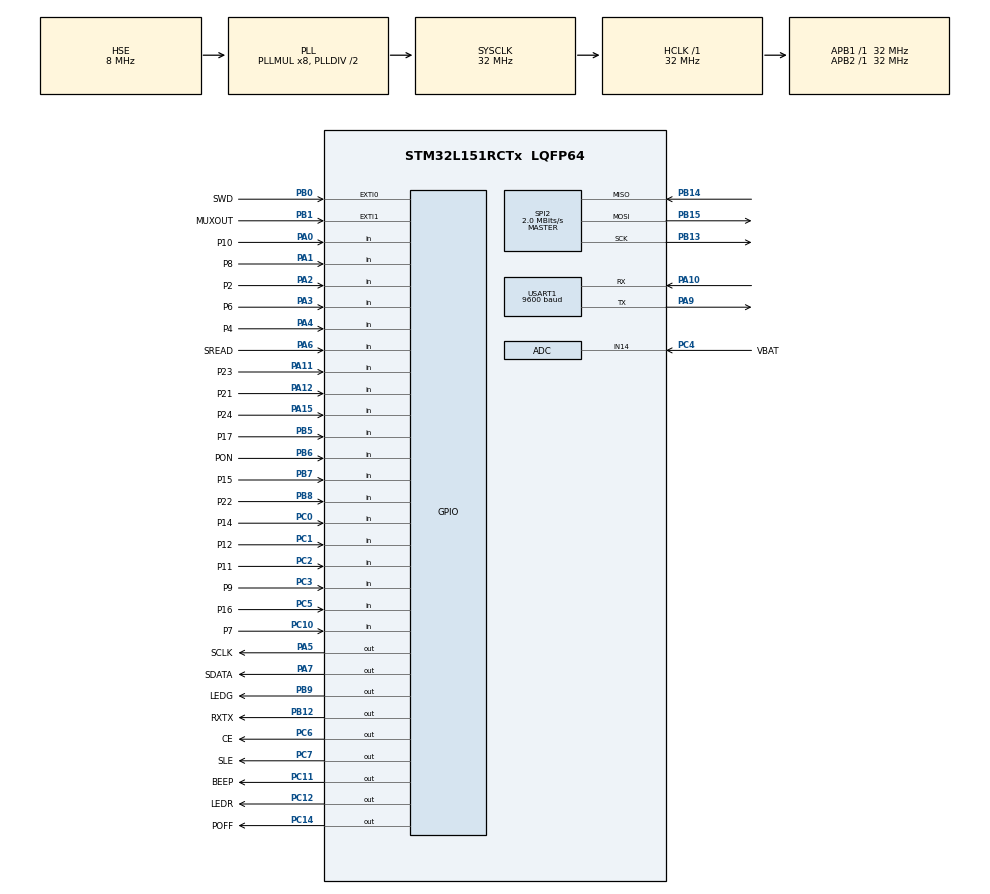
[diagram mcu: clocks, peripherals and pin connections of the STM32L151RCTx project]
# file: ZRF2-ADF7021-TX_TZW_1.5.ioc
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ADC.Channel-0\#ChannelRegularConversion=ADC_CHANNEL_14
ADC.ContinuousConvMode=DISABLE
ADC.DMAContinuousRequests=ENABLE
ADC.DataAlign=ADC_DATAALIGN_RIGHT
ADC.DiscontinuousConvMode=DISABLE
ADC.EnableAnalogWatchDog=false
ADC.ExternalTrigConv=ADC_SOFTWARE_START
ADC.InjNumberOfConversion=0
ADC.NbrOfConversion=1
ADC.Rank-0\#ChannelRegularConversion=1
ADC.SamplingTime-0\#ChannelRegularConversion=ADC_SAMPLETIME_192CYCLES
ADC.ScanConvMode=ADC_SCAN_DISABLE
Dma.ADC.0.Direction=DMA_PERIPH_TO_MEMORY
Dma.ADC.0.Instance=DMA1_Channel1
Dma.ADC.0.MemDataAlignment=DMA_MDATAALIGN_HALFWORD
Dma.ADC.0.MemInc=DMA_MINC_ENABLE
Dma.ADC.0.Mode=DMA_NORMAL
Dma.ADC.0.PeriphDataAlignment=DMA_PDATAALIGN_HALFWORD
Dma.ADC.0.PeriphInc=DMA_PINC_DISABLE
Dma.ADC.0.Priority=DMA_PRIORITY_LOW
Dma.Request0=ADC
FREERTOS.Tasks01=defaultTask,0,256,StartDefaultTask,Default,NULL,Dynamic,NULL,NULL
FREERTOS.configMAX_PRIORITIES=9
FREERTOS.configMINIMAL_STACK_SIZE=128
FREERTOS.configTOTAL_HEAP_SIZE=16000
FREERTOS.configUSE_NEWLIB_REENTRANT=1
FREERTOS.configUSE_TIMERS=1
Mcu.Family=STM32L1
Mcu.Name=STM32L151RCTx
Mcu.Package=LQFP64
NVIC.ADC1_IRQn=true\:5\:0\:false\:false\:true\:true\:true\:true\:true
NVIC.DMA1_Channel1_IRQn=true\:5\:0\:false\:false\:true\:true\:true\:true\:true
NVIC.EXTI0_IRQn=true\:5\:0\:false\:false\:true\:true\:true\:true\:true
NVIC.EXTI1_IRQn=true\:5\:0\:true\:false\:true\:true\:true\:true\:true
NVIC.PriorityGroup=NVIC_PRIORITYGROUP_4
NVIC.TIM11_IRQn=true\:5\:0\:false\:false\:true\:true\:true\:true\:true
NVIC.TIM2_IRQn=true\:0\:0\:false\:false\:true\:false\:false\:true\:true
NVIC.TimeBase=TIM2_IRQn
NVIC.TimeBaseIP=TIM2
NVIC.USART1_IRQn=true\:5\:0\:true\:false\:true\:true\:true\:true\:true
PA0-WKUP1.GPIO_Label=P10
PA0-WKUP1.GPIO_PuPd=GPIO_PULLUP
PA0-WKUP1.Signal=GPIO_Input
PA1.GPIO_Label=P8
PA1.GPIO_PuPd=GPIO_PULLUP
PA1.Signal=GPIO_Input
PA10.Mode=Asynchronous
PA10.Signal=USART1_RX
PA11.GPIO_Label=P23
PA11.GPIO_PuPd=GPIO_PULLUP
PA11.Signal=GPIO_Input
PA12.GPIO_Label=P21
PA12.GPIO_PuPd=GPIO_PULLUP
PA12.Signal=GPIO_Input
PA13.Mode=Serial_Wire
PA13.Signal=SYS_JTMS-SWDIO
PA14.Mode=Serial_Wire
PA14.Signal=SYS_JTCK-SWCLK
PA15.GPIO_Label=P24
PA15.GPIO_PuPd=GPIO_PULLUP
PA15.Signal=GPIO_Input
PA2.GPIO_Label=P2
PA2.GPIO_PuPd=GPIO_PULLUP
PA2.Signal=GPIO_Input
PA3.GPIO_Label=P6
PA3.GPIO_PuPd=GPIO_PULLUP
PA3.Signal=GPIO_Input
PA4.GPIO_Label=P4
PA4.Signal=GPIO_Input
PA5.GPIO_Label=SCLK
PA5.GPIO_Speed=GPIO_SPEED_FREQ_VERY_HIGH
PA5.Signal=GPIO_Output
PA6.GPIO_Label=SREAD
PA6.GPIO_PuPd=GPIO_PULLUP
PA6.Signal=GPIO_Input
PA7.GPIO_Label=SDATA
PA7.GPIO_Speed=GPIO_SPEED_FREQ_VERY_HIGH
PA7.Signal=GPIO_Output
PA9.Mode=Asynchronous
PA9.Signal=USART1_TX
PB0.GPIO_Label=SWD
PB0.GPIO_ModeDefaultEXTI=GPIO_MODE_IT_FALLING
PB0.GPIO_PuPd=GPIO_PULLUP
PB0.Signal=GPXTI0
PB1.GPIO_Label=MUXOUT
PB1.Signal=GPXTI1
PB12.GPIO_Label=RXTX
PB12.GPIO_PuPd=GPIO_NOPULL
PB12.GPIO_Speed=GPIO_SPEED_FREQ_VERY_HIGH
PB12.PinState=GPIO_PIN_SET
PB12.Signal=GPIO_Output
PB13.Mode=Full_Duplex_Master
PB13.Signal=SPI2_SCK
PB14.Mode=Full_Duplex_Master
PB14.Signal=SPI2_MISO
PB15.Mode=Full_Duplex_Master
PB15.Signal=SPI2_MOSI
PB5.GPIO_Label=P17
PB5.GPIO_PuPd=GPIO_PULLUP
PB5.Signal=GPIO_Input
PB6.GPIO_Label=PON
PB6.Signal=GPIO_Input
PB7.GPIO_Label=P15
PB7.GPIO_PuPd=GPIO_PULLUP
PB7.Signal=GPIO_Input
PB8.GPIO_Label=P22
PB8.Signal=GPIO_Input
PB9.GPIO_Label=LEDG
PB9.Signal=GPIO_Output
PC0.GPIO_Label=P14
PC0.GPIO_PuPd=GPIO_PULLUP
PC0.Signal=GPIO_Input
PC1.GPIO_Label=P12
PC1.GPIO_PuPd=GPIO_PULLUP
PC1.Signal=GPIO_Input
PC10.GPIO_Label=P7
PC10.GPIO_PuPd=GPIO_PULLUP
PC10.Signal=GPIO_Input
PC11.GPIO_Label=BEEP
PC11.Signal=GPIO_Output
PC12.GPIO_Label=LEDR
PC12.Signal=GPIO_Output
PC14-OSC32_IN.GPIO_Label=POFF
PC14-OSC32_IN.PinState=GPIO_PIN_SET
PC14-OSC32_IN.Signal=GPIO_Output
PC2.GPIO_Label=P11
PC2.GPIO_PuPd=GPIO_PULLUP
PC2.Signal=GPIO_Input
PC3.GPIO_Label=P9
PC3.GPIO_PuPd=GPIO_PULLUP
PC3.Signal=GPIO_Input
PC4.GPIO_Label=VBAT
PC4.Mode=IN14
PC4.Signal=ADC_IN14
PC5.GPIO_Label=P16
PC5.GPIO_PuPd=GPIO_PULLUP
PC5.Signal=GPIO_Input
PC6.GPIO_Label=CE
PC6.GPIO_Speed=GPIO_SPEED_FREQ_VERY_HIGH
PC6.Signal=GPIO_Output
PC7.GPIO_Label=SLE
PC7.GPIO_Speed=GPIO_SPEED_FREQ_VERY_HIGH
PC7.Signal=GPIO_Output
PH0-OSC_IN.Mode=HSE-External-Oscillator
PH0-OSC_IN.Signal=RCC_OSC_IN
PH1-OSC_OUT.Mode=HSE-External-Oscillator
PH1-OSC_OUT.Signal=RCC_OSC_OUT
ProjectManager.HeapSize=0x200
ProjectManager.StackSize=0x400
ProjectManager.TargetToolchain=STM32CubeIDE
RCC.48MHZClocksFreq_Value=32000000
RCC.AHBFreq_Value=32000000
RCC.APB1Freq_Value=32000000
RCC.APB1TimFreq_Value=32000000
RCC.APB2Freq_Value=32000000
RCC.APB2TimFreq_Value=32000000
RCC.EnbaleCSS=true
RCC.FLatency=FLASH_LATENCY_1
RCC.HCLKFreq_Value=32000000
RCC.HSE_VALUE=8000000
RCC.HSI_VALUE=16000000
RCC.LSE_VALUE=32768
RCC.MSI_VALUE=2097000
RCC.PLLMUL=RCC_PLL_MUL8
RCC.PLLSourceVirtual=RCC_PLLSOURCE_HSE
RCC.PREFETCH_ENABLE=1
RCC.SYSCLKFreq_VALUE=32000000
RCC.SYSCLKSource=RCC_SYSCLKSOURCE_PLLCLK
RCC.VCOOutputFreq_Value=64000000
RCC.VDD_VALUE=3.3
SPI2.BaudRatePrescaler=SPI_BAUDRATEPRESCALER_16
SPI2.CLKPhase=SPI_PHASE_1EDGE
SPI2.CLKPolarity=SPI_POLARITY_LOW
SPI2.CRCCalculation=SPI_CRCCALCULATION_DISABLE
SPI2.CalculateBaudRate=2.0 MBits/s
SPI2.DataSize=SPI_DATASIZE_8BIT
SPI2.Direction=SPI_DIRECTION_2LINES
SPI2.FirstBit=SPI_FIRSTBIT_MSB
SPI2.Mode=SPI_MODE_MASTER
SPI2.NSS=SPI_NSS_SOFT
SPI2.TIMode=SPI_TIMODE_DISABLE
SPI2.VirtualType=VM_MASTER
TIM11.Period=10-1
TIM11.Prescaler=32000-1
USART1.BaudRate=9600
USART1.Mode=MODE_TX_RX
USART1.OverSampling=UART_OVERSAMPLING_16
USART1.Parity=PARITY_NONE
USART1.StopBits=STOPBITS_1
USART1.VirtualMode=VM_ASYNC
USART1.WordLength=WORDLENGTH_8B
VP_FREERTOS_VS_CMSIS_V1.Mode=CMSIS_V1
VP_SYS_VS_tim2.Mode=TIM2
VP_TIM11_VS_ClockSourceINT.Mode=Internal
board=CC1120-TX_V1.21

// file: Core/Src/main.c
/* USER CODE BEGIN Header */
/**
  ******************************************************************************
  * @file           : main.c
  * @brief          : Main program body
  ******************************************************************************
  * @attention
  *
  * Copyright (c) 2022 STMicroelectronics.
  * All rights reserved.
  *
  * This software is licensed under terms that can be found in the LICENSE file
  * in the root directory of this software component.
  * If no LICENSE file comes with this software, it is provided AS-IS.
  *
  ******************************************************************************
  */
/* USER CODE END Header */
#include "main.h"
#include "cmsis_os.h"

/* USER CODE BEGIN Includes */
#include "../../config.h"
#include "../threads/variables.h"
#include "../threads/cmd_thread.h"
#include "../threads/ctrl_thread.h"
#include "../threads/io_ctrl_thread.h"
#include "../threads/radio_thread.h"
#include "../ADF7021/adf7021.h"
#include "../Lib/eeprom.h"
/* USER CODE END Includes */

/* USER CODE BEGIN PTD */
osThreadId ctrl_threadHandle;
osThreadId cmd_threadHandle;
osThreadId io_ctrl_threadHandle;
osThreadId radio_threadHandle;
osThreadId serial_threadHandle;
/* USER CODE END PTD */

/* USER CODE BEGIN PD */
void set_inouts(void);
/* USER CODE END PD */

 ADC_HandleTypeDef hadc;
DMA_HandleTypeDef hdma_adc;

SPI_HandleTypeDef hspi2;

TIM_HandleTypeDef htim11;

UART_HandleTypeDef huart1;

osThreadId defaultTaskHandle;

void SystemClock_Config(void);
static void MX_GPIO_Init(void);
static void MX_DMA_Init(void);
static void MX_SPI2_Init(void);
static void MX_USART1_UART_Init(void);
static void MX_ADC_Init(void);
static void MX_TIM11_Init(void);
void StartDefaultTask(void const * argument);

int main(void)
{

  /* MCU Configuration--------------------------------------------------------*/

  /* Reset of all peripherals, Initializes the Flash interface and the Systick. */
  HAL_Init();

  /* USER CODE BEGIN Init */

	serial_tx_queue = xQueueCreate(serial_tx_queue_size, sizeof(uint8_t));
	serial_rx_queue = xQueueCreate(serial_rx_queue_size, sizeof(uint8_t));

	  setup_mutex = xSemaphoreCreateMutex();
	  tx_frame_mutex = xSemaphoreCreateMutex();
	  off_counter_reset_mutex = xSemaphoreCreateMutex();

  /* USER CODE END Init */

  /* Configure the system clock */
  SystemClock_Config();

  /* Initialize all configured peripherals */
  MX_GPIO_Init();
  MX_DMA_Init();
  MX_SPI2_Init();
  MX_USART1_UART_Init();
  MX_ADC_Init();
  MX_TIM11_Init();
  /* USER CODE BEGIN 2 */
  set_inouts();
  /* USER CODE END 2 */

  /* Create the thread(s) */
  /* definition and creation of defaultTask */
  osThreadDef(defaultTask, StartDefaultTask, osPriorityNormal, 0, 256);
  defaultTaskHandle = osThreadCreate(osThread(defaultTask), NULL);

  /* USER CODE BEGIN RTOS_THREADS */
  osThreadDef(radio_thread, radio_task, osPriorityNormal, 0, 256);
  radio_threadHandle = osThreadCreate(osThread(radio_thread), NULL);

  osThreadDef(ctrl_thread, ctrl_task, osPriorityNormal, 0, 256);
  ctrl_threadHandle = osThreadCreate(osThread(ctrl_thread), NULL);

  /* definition and creation of cmd_thread */
  osThreadDef(cmd_thread, cmd_task, osPriorityNormal, 0, 256);
  cmd_threadHandle = osThreadCreate(osThread(cmd_thread), NULL);

  /* definition and creation of io_ctrl_thread */
  osThreadDef(io_ctrl_thread, io_ctrl_task, osPriorityNormal, 0, 256);
  io_ctrl_threadHandle = osThreadCreate(osThread(io_ctrl_thread), NULL);

  /* USER CODE END RTOS_THREADS */

  /* Start scheduler */
  osKernelStart();

  /* We should never get here as control is now taken by the scheduler */
  /* Infinite loop */
  while (1)
  {

  }
}

void SystemClock_Config(void)
{
  RCC_OscInitTypeDef RCC_OscInitStruct = {0};
  RCC_ClkInitTypeDef RCC_ClkInitStruct = {0};

  /** Configure the main internal regulator output voltage
  */
  __HAL_PWR_VOLTAGESCALING_CONFIG(PWR_REGULATOR_VOLTAGE_SCALE1);

  /** Initializes the RCC Oscillators according to the specified parameters
  * in the RCC_OscInitTypeDef structure.
  */
  RCC_OscInitStruct.OscillatorType = RCC_OSCILLATORTYPE_HSI|RCC_OSCILLATORTYPE_HSE;
  RCC_OscInitStruct.HSEState = RCC_HSE_ON;
  RCC_OscInitStruct.HSIState = RCC_HSI_ON;
  RCC_OscInitStruct.HSICalibrationValue = RCC_HSICALIBRATION_DEFAULT;
  RCC_OscInitStruct.PLL.PLLState = RCC_PLL_ON;
  RCC_OscInitStruct.PLL.PLLSource = RCC_PLLSOURCE_HSE;
  RCC_OscInitStruct.PLL.PLLMUL = RCC_PLL_MUL8;
  RCC_OscInitStruct.PLL.PLLDIV = RCC_PLL_DIV2;
  if (HAL_RCC_OscConfig(&RCC_OscInitStruct) != HAL_OK)
  {
    Error_Handler();
  }

  /** Initializes the CPU, AHB and APB buses clocks
  */
  RCC_ClkInitStruct.ClockType = RCC_CLOCKTYPE_HCLK|RCC_CLOCKTYPE_SYSCLK
                              |RCC_CLOCKTYPE_PCLK1|RCC_CLOCKTYPE_PCLK2;
  RCC_ClkInitStruct.SYSCLKSource = RCC_SYSCLKSOURCE_PLLCLK;
  RCC_ClkInitStruct.AHBCLKDivider = RCC_SYSCLK_DIV1;
  RCC_ClkInitStruct.APB1CLKDivider = RCC_HCLK_DIV1;
  RCC_ClkInitStruct.APB2CLKDivider = RCC_HCLK_DIV1;

  if (HAL_RCC_ClockConfig(&RCC_ClkInitStruct, FLASH_LATENCY_1) != HAL_OK)
  {
    Error_Handler();
  }

  /** Enables the Clock Security System
  */
  HAL_RCC_EnableCSS();
}

static void MX_ADC_Init(void)
{

  /* USER CODE BEGIN ADC_Init 0 */
	volatile uint8_t rank_count = 2;
  /* USER CODE END ADC_Init 0 */

  ADC_ChannelConfTypeDef sConfig = {0};

  /** Configure the global features of the ADC (Clock, Resolution, Data Alignment and number of conversion)
  */
  hadc.Instance = ADC1;
  hadc.Init.ClockPrescaler = ADC_CLOCK_ASYNC_DIV1;
  hadc.Init.Resolution = ADC_RESOLUTION_12B;
  hadc.Init.DataAlign = ADC_DATAALIGN_RIGHT;
  hadc.Init.ScanConvMode = ADC_SCAN_DISABLE;
  hadc.Init.EOCSelection = ADC_EOC_SEQ_CONV;
  hadc.Init.LowPowerAutoWait = ADC_AUTOWAIT_DISABLE;
  hadc.Init.LowPowerAutoPowerOff = ADC_AUTOPOWEROFF_DISABLE;
  hadc.Init.ChannelsBank = ADC_CHANNELS_BANK_A;
  hadc.Init.ContinuousConvMode = DISABLE;
  hadc.Init.NbrOfConversion = 1;
  hadc.Init.DiscontinuousConvMode = DISABLE;
  hadc.Init.ExternalTrigConv = ADC_SOFTWARE_START;
  hadc.Init.ExternalTrigConvEdge = ADC_EXTERNALTRIGCONVEDGE_NONE;
  hadc.Init.DMAContinuousRequests = ENABLE;
  if (HAL_ADC_Init(&hadc) != HAL_OK)
  {
    Error_Handler();
  }

  /** Configure for the selected ADC regular channel its corresponding rank in the sequencer and its sample time.
  */
  sConfig.Channel = ADC_CHANNEL_14;
  sConfig.Rank = ADC_REGULAR_RANK_1;
  sConfig.SamplingTime = ADC_SAMPLETIME_192CYCLES;
  if (HAL_ADC_ConfigChannel(&hadc, &sConfig) != HAL_OK)
  {
    Error_Handler();
  }
  /* USER CODE BEGIN ADC_Init 2 */
	if((tx_cfg.analog[0].n) >= 1)			//PC0 ADC10
	{

		  sConfig.Channel = ADC_CHANNEL_10;
		  sConfig.Rank = rank_count++;
		  sConfig.SamplingTime = ADC_SAMPLETIME_192CYCLES;
		 HAL_ADC_ConfigChannel(&hadc, &sConfig);
		// anal_count++;

	}

	if((tx_cfg.analog[1].n) >=  1)			//PC1 ADC11
	{

		  sConfig.Channel = ADC_CHANNEL_11;
		  sConfig.Rank = rank_count++;
		  sConfig.SamplingTime = ADC_SAMPLETIME_192CYCLES;
		  HAL_ADC_ConfigChannel(&hadc, &sConfig);
		 // anal_count++;
	}

	if((tx_cfg.analog[2].n) >=  1)			//PC3 ADC13
	{

		  sConfig.Channel = ADC_CHANNEL_13;
		  sConfig.Rank = rank_count++;
		  sConfig.SamplingTime = ADC_SAMPLETIME_192CYCLES;
		  HAL_ADC_ConfigChannel(&hadc, &sConfig);
		 // anal_count++;
	}

	if((tx_cfg.analog[3].n) >=  1)			//PA0 ADC0
	{

		  sConfig.Channel = ADC_CHANNEL_0;
		  sConfig.Rank = rank_count++;
		  sConfig.SamplingTime = ADC_SAMPLETIME_192CYCLES;
		  HAL_ADC_ConfigChannel(&hadc, &sConfig);
		 // anal_count++;
	}

	if((tx_cfg.analog[4].n) >=  1)			//PA1 ADC1
	{

		  sConfig.Channel = ADC_CHANNEL_1;
		  sConfig.Rank = rank_count++;
		  sConfig.SamplingTime = ADC_SAMPLETIME_192CYCLES;
		  HAL_ADC_ConfigChannel(&hadc, &sConfig);
		 // anal_count++;
	}

	if((tx_cfg.analog[5].n) >=  1)			//PA2 ADC2
	{

		  sConfig.Channel = ADC_CHANNEL_2;
		  sConfig.Rank = rank_count++;
		  sConfig.SamplingTime = ADC_SAMPLETIME_192CYCLES;
		  HAL_ADC_ConfigChannel(&hadc, &sConfig);
		 // anal_count++;
	}

	if((tx_cfg.analog[6].n) >=  1)			//PA3 ADC3
	{

		  sConfig.Channel = ADC_CHANNEL_3;
		  sConfig.Rank = rank_count++;
		  sConfig.SamplingTime = ADC_SAMPLETIME_192CYCLES;
		  HAL_ADC_ConfigChannel(&hadc, &sConfig);
		 // anal_count++;
	}

	if((tx_cfg.analog[7].n) >=  1)			//PA4 ADC4
	{

		  sConfig.Channel = ADC_CHANNEL_4;
		  sConfig.Rank = rank_count++;
		  sConfig.SamplingTime = ADC_SAMPLETIME_192CYCLES;
		  HAL_ADC_ConfigChannel(&hadc, &sConfig);
		//  anal_count++;
	}
  /* USER CODE END ADC_Init 2 */

}

static void MX_SPI2_Init(void)
{

  /* SPI2 parameter configuration*/
  hspi2.Instance = SPI2;
  hspi2.Init.Mode = SPI_MODE_MASTER;
  hspi2.Init.Direction = SPI_DIRECTION_2LINES;
  hspi2.Init.DataSize = SPI_DATASIZE_8BIT;
  hspi2.Init.CLKPolarity = SPI_POLARITY_LOW;
  hspi2.Init.CLKPhase = SPI_PHASE_1EDGE;
  hspi2.Init.NSS = SPI_NSS_SOFT;
  hspi2.Init.BaudRatePrescaler = SPI_BAUDRATEPRESCALER_16;
  hspi2.Init.FirstBit = SPI_FIRSTBIT_MSB;
  hspi2.Init.TIMode = SPI_TIMODE_DISABLE;
  hspi2.Init.CRCCalculation = SPI_CRCCALCULATION_DISABLE;
  hspi2.Init.CRCPolynomial = 10;
  if (HAL_SPI_Init(&hspi2) != HAL_OK)
  {
    Error_Handler();
  }

}

static void MX_TIM11_Init(void)
{

  TIM_ClockConfigTypeDef sClockSourceConfig = {0};

  htim11.Instance = TIM11;
  htim11.Init.Prescaler = 32000-1;
  htim11.Init.CounterMode = TIM_COUNTERMODE_UP;
  htim11.Init.Period = 10-1;
  htim11.Init.ClockDivision = TIM_CLOCKDIVISION_DIV1;
  htim11.Init.AutoReloadPreload = TIM_AUTORELOAD_PRELOAD_DISABLE;
  if (HAL_TIM_Base_Init(&htim11) != HAL_OK)
  {
    Error_Handler();
  }
  sClockSourceConfig.ClockSource = TIM_CLOCKSOURCE_INTERNAL;
  if (HAL_TIM_ConfigClockSource(&htim11, &sClockSourceConfig) != HAL_OK)
  {
    Error_Handler();
  }
  /* USER CODE BEGIN TIM11_Init 2 */
  HAL_TIM_Base_Start_IT(&htim11);
  /* USER CODE END TIM11_Init 2 */

}

static void MX_USART1_UART_Init(void)
{

  huart1.Instance = USART1;
  huart1.Init.BaudRate = 9600;
  huart1.Init.WordLength = UART_WORDLENGTH_8B;
  huart1.Init.StopBits = UART_STOPBITS_1;
  huart1.Init.Parity = UART_PARITY_NONE;
  huart1.Init.Mode = UART_MODE_TX_RX;
  huart1.Init.HwFlowCtl = UART_HWCONTROL_NONE;
  huart1.Init.OverSampling = UART_OVERSAMPLING_16;
  if (HAL_UART_Init(&huart1) != HAL_OK)
  {
    Error_Handler();
  }

}

static void MX_DMA_Init(void)
{

  /* DMA controller clock enable */
  __HAL_RCC_DMA1_CLK_ENABLE();

  /* DMA interrupt init */
  /* DMA1_Channel1_IRQn interrupt configuration */
  HAL_NVIC_SetPriority(DMA1_Channel1_IRQn, 5, 0);
  HAL_NVIC_EnableIRQ(DMA1_Channel1_IRQn);

}

static void MX_GPIO_Init(void)
{
  GPIO_InitTypeDef GPIO_InitStruct = {0};

  /* GPIO Ports Clock Enable */
  __HAL_RCC_GPIOC_CLK_ENABLE();
  __HAL_RCC_GPIOH_CLK_ENABLE();
  __HAL_RCC_GPIOA_CLK_ENABLE();
  __HAL_RCC_GPIOB_CLK_ENABLE();

  /*Configure GPIO pin Output Level */
  HAL_GPIO_WritePin(POFF_GPIO_Port, POFF_Pin, GPIO_PIN_SET);

  /*Configure GPIO pin Output Level */
  HAL_GPIO_WritePin(GPIOA, SCLK_Pin|SDATA_Pin, GPIO_PIN_RESET);

  /*Configure GPIO pin Output Level */
  HAL_GPIO_WritePin(RXTX_GPIO_Port, RXTX_Pin, GPIO_PIN_SET);

  /*Configure GPIO pin Output Level */
  HAL_GPIO_WritePin(GPIOC, CE_Pin|SLE_Pin|BEEP_Pin|LEDR_Pin, GPIO_PIN_RESET);

  /*Configure GPIO pin Output Level */
  HAL_GPIO_WritePin(LEDG_GPIO_Port, LEDG_Pin, GPIO_PIN_RESET);

  /*Configure GPIO pins : POFF_Pin BEEP_Pin LEDR_Pin */
  GPIO_InitStruct.Pin = POFF_Pin|BEEP_Pin|LEDR_Pin;
  GPIO_InitStruct.Mode = GPIO_MODE_OUTPUT_PP;
  GPIO_InitStruct.Pull = GPIO_NOPULL;
  GPIO_InitStruct.Speed = GPIO_SPEED_FREQ_LOW;
  HAL_GPIO_Init(GPIOC, &GPIO_InitStruct);

  /*Configure GPIO pins : P14_Pin P12_Pin P11_Pin P9_Pin
                           P16_Pin P7_Pin */
  GPIO_InitStruct.Pin = P14_Pin|P12_Pin|P11_Pin|P9_Pin
                          |P16_Pin|P7_Pin;
  GPIO_InitStruct.Mode = GPIO_MODE_INPUT;
  GPIO_InitStruct.Pull = GPIO_PULLUP;
  HAL_GPIO_Init(GPIOC, &GPIO_InitStruct);

  /*Configure GPIO pins : P10_Pin P8_Pin P2_Pin P6_Pin
                           SREAD_Pin P23_Pin P21_Pin P24_Pin */
  GPIO_InitStruct.Pin = P10_Pin|P8_Pin|P2_Pin|P6_Pin
                          |SREAD_Pin|P23_Pin|P21_Pin|P24_Pin;
  GPIO_InitStruct.Mode = GPIO_MODE_INPUT;
  GPIO_InitStruct.Pull = GPIO_PULLUP;
  HAL_GPIO_Init(GPIOA, &GPIO_InitStruct);

  /*Configure GPIO pin : P4_Pin */
  GPIO_InitStruct.Pin = P4_Pin;
  GPIO_InitStruct.Mode = GPIO_MODE_INPUT;
  GPIO_InitStruct.Pull = GPIO_NOPULL;
  HAL_GPIO_Init(P4_GPIO_Port, &GPIO_InitStruct);

  /*Configure GPIO pins : SCLK_Pin SDATA_Pin */
  GPIO_InitStruct.Pin = SCLK_Pin|SDATA_Pin;
  GPIO_InitStruct.Mode = GPIO_MODE_OUTPUT_PP;
  GPIO_InitStruct.Pull = GPIO_NOPULL;
  GPIO_InitStruct.Speed = GPIO_SPEED_FREQ_VERY_HIGH;
  HAL_GPIO_Init(GPIOA, &GPIO_InitStruct);

  /*Configure GPIO pin : SWD_Pin */
  GPIO_InitStruct.Pin = SWD_Pin;
  GPIO_InitStruct.Mode = GPIO_MODE_IT_FALLING;
  GPIO_InitStruct.Pull = GPIO_PULLUP;
  HAL_GPIO_Init(SWD_GPIO_Port, &GPIO_InitStruct);

  /*Configure GPIO pin : MUXOUT_Pin */
  GPIO_InitStruct.Pin = MUXOUT_Pin;
  GPIO_InitStruct.Mode = GPIO_MODE_IT_FALLING;
  GPIO_InitStruct.Pull = GPIO_NOPULL;
  HAL_GPIO_Init(MUXOUT_GPIO_Port, &GPIO_InitStruct);

  /*Configure GPIO pin : RXTX_Pin */
  GPIO_InitStruct.Pin = RXTX_Pin;
  GPIO_InitStruct.Mode = GPIO_MODE_OUTPUT_PP;
  GPIO_InitStruct.Pull = GPIO_NOPULL;
  GPIO_InitStruct.Speed = GPIO_SPEED_FREQ_VERY_HIGH;
  HAL_GPIO_Init(RXTX_GPIO_Port, &GPIO_InitStruct);

  /*Configure GPIO pins : CE_Pin SLE_Pin */
  GPIO_InitStruct.Pin = CE_Pin|SLE_Pin;
  GPIO_InitStruct.Mode = GPIO_MODE_OUTPUT_PP;
  GPIO_InitStruct.Pull = GPIO_NOPULL;
  GPIO_InitStruct.Speed = GPIO_SPEED_FREQ_VERY_HIGH;
  HAL_GPIO_Init(GPIOC, &GPIO_InitStruct);

  /*Configure GPIO pins : P17_Pin P15_Pin */
  GPIO_InitStruct.Pin = P17_Pin|P15_Pin;
  GPIO_InitStruct.Mode = GPIO_MODE_INPUT;
  GPIO_InitStruct.Pull = GPIO_PULLUP;
  HAL_GPIO_Init(GPIOB, &GPIO_InitStruct);

  /*Configure GPIO pins : PON_Pin P22_Pin */
  GPIO_InitStruct.Pin = PON_Pin|P22_Pin;
  GPIO_InitStruct.Mode = GPIO_MODE_INPUT;
  GPIO_InitStruct.Pull = GPIO_NOPULL;
  HAL_GPIO_Init(GPIOB, &GPIO_InitStruct);

  /*Configure GPIO pin : LEDG_Pin */
  GPIO_InitStruct.Pin = LEDG_Pin;
  GPIO_InitStruct.Mode = GPIO_MODE_OUTPUT_PP;
  GPIO_InitStruct.Pull = GPIO_NOPULL;
  GPIO_InitStruct.Speed = GPIO_SPEED_FREQ_LOW;
  HAL_GPIO_Init(LEDG_GPIO_Port, &GPIO_InitStruct);

  /* EXTI interrupt init*/
  HAL_NVIC_SetPriority(EXTI0_IRQn, 5, 0);
  HAL_NVIC_EnableIRQ(EXTI0_IRQn);

  HAL_NVIC_SetPriority(EXTI1_IRQn, 5, 0);
  HAL_NVIC_EnableIRQ(EXTI1_IRQn);

}

/* USER CODE BEGIN 4 */
void set_inouts(void)
{
	uint8_t spi_count = 0;

	for(int pos = 0; pos < 8; pos = pos + 2)
	{
	if(tx_cfg.spi_cfg[1+pos] > 0)			//0x01 wejscia  //bajty 5,4,3
	{
		spi_count++;
	}
	}

  set_ios(spi_count);

}
/* USER CODE END 4 */

void StartDefaultTask(void const * argument)
{
  for(;;)
  {
    osDelay(1);
  }
}

void HAL_TIM_PeriodElapsedCallback(TIM_HandleTypeDef *htim)
{
  if (htim->Instance == TIM2) {
    HAL_IncTick();
  }
}

void Error_Handler(void)
{
  __disable_irq();
  while (1)
  {
  }
}
